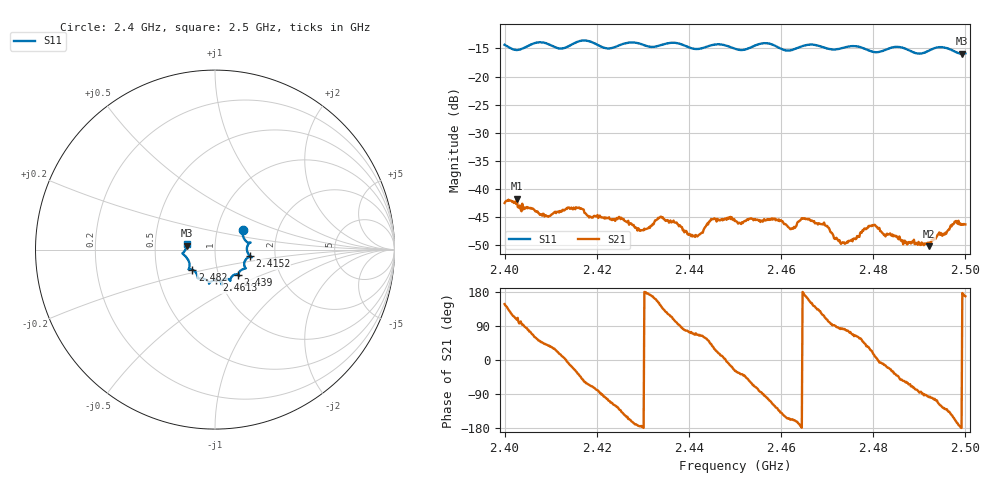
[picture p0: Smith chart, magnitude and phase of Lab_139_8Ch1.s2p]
# Hz S RI R 50
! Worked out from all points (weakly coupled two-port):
!   601 points, 2.4 GHz to 2.5 GHz, reference 50 ohm
!   highest |S21| = -41.73 dB at 2.4027 GHz (marker M1); lowest = -50.2 dB at 2.4922 GHz (marker M2)
!   lowest |S11| = -15.9 dB at 2.4993 GHz (marker M3), VSWR 1.38, Z = 36.3 + j1.61 ohm
!   |S11| at or under -10 dB: start of sweep to end of sweep
!   S12 and S22 are empty: the file has one direction only
!   S11 on the Smith chart (normalised r, x): 2.4 GHz: 1.33, +0.31; 2.4152 GHz: 1.48, -0.11; 2.439 GHz: 1.24, -0.36; 2.4613 GHz: 0.96, -0.34; 2.482 GHz: 0.76, -0.17; 2.5 GHz: 0.73, +0.05
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2.4e9  0.1561 0.1114  -0.00633 0.00402  0 0  0 0
2.402667e9  0.1589 0.0665  -0.00229 0.00787  0 0  0 0
2.409167e9  0.1932 0.0378  0.00438 0.00367  0 0  0 0
2.415167e9  0.195 -0.0369  0.0061 -0.0029  0 0  0 0
2.416667e9  0.2043 -0.0428  0.00448 -0.00496  0 0  0 0
2.422333e9  0.1663 -0.0637  -0.00124 -0.00536  0 0  0 0
2.429667e9  0.1624 -0.1069  -0.00426 -0.000444  0 0  0 0
2.433333e9  0.1327 -0.1324  -0.00489 0.00261  0 0  0 0
2.439e9  0.1283 -0.1392  0.000762 0.00404  0 0  0 0
2.4415e9  0.1036 -0.1422  0.00131 0.00367  0 0  0 0
2.445167e9  0.084 -0.172  0.00436 0.00314  0 0  0 0
2.45e9  0.0679 -0.1633  0.00454 -0.0025  0 0  0 0
2.456667e9  0.0392 -0.1946  -0.000632 -0.00526  0 0  0 0
2.461333e9  0.00755 -0.1702  -0.00423 -0.00206  0 0  0 0
2.466667e9  -0.0329 -0.1898  -0.00456 0.00259  0 0  0 0
2.473333e9  -0.0806 -0.1606  0.000408 0.00333  0 0  0 0
2.4795e9  -0.1037 -0.1323  0.00424 0.002  0 0  0 0
2.482e9  -0.1265 -0.112  0.00401 -0.000715  0 0  0 0
2.483333e9  -0.1395 -0.1099  0.0037 -0.00139  0 0  0 0
2.492167e9  -0.1673 -0.0341  -0.000453 -0.00306  0 0  0 0
2.499333e9  -0.1581 0.0215  -0.0048 0.00027  0 0  0 0
2.5e9  -0.1577 0.0334  -0.00473 0.000997  0 0  0 0
